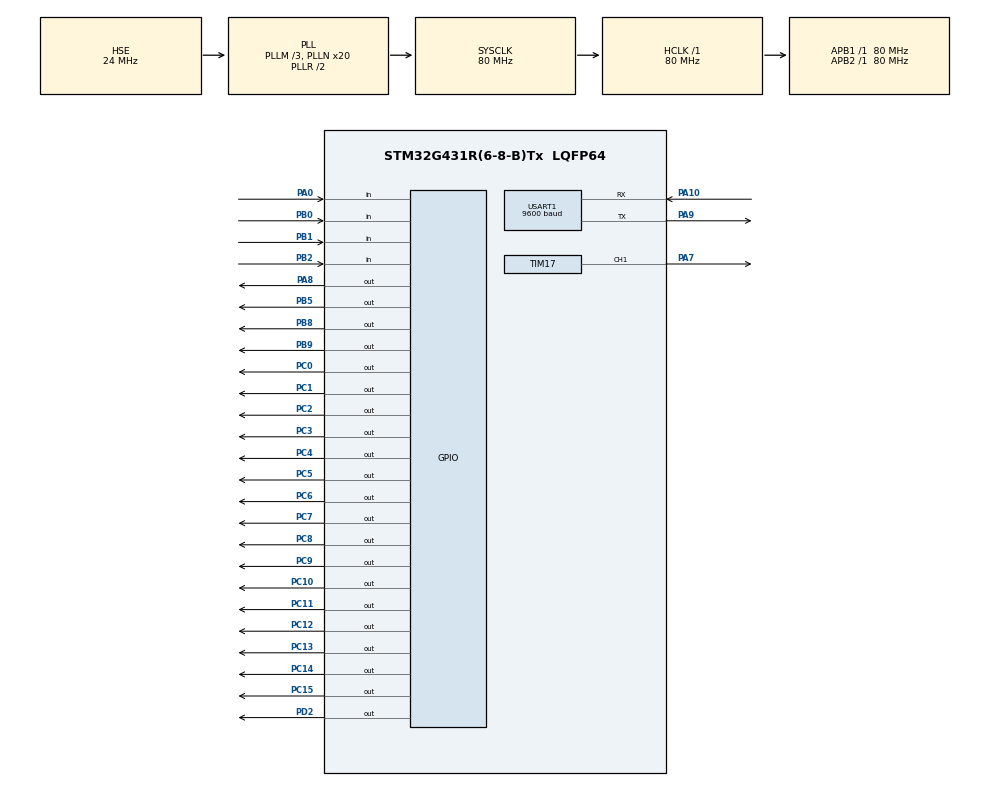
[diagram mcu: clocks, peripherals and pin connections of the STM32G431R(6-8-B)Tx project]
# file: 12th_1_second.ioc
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Mcu.Family=STM32G4
Mcu.Name=STM32G431R(6-8-B)Tx
Mcu.Package=LQFP64
NVIC.PriorityGroup=NVIC_PRIORITYGROUP_4
NVIC.TIM4_IRQn=true\:0\:0\:false\:false\:true\:true\:true\:true
NVIC.USART1_IRQn=true\:0\:0\:false\:false\:true\:true\:true\:true
PA0.GPIO_PuPd=GPIO_PULLUP
PA0.Signal=GPIO_Input
PA10.Mode=Asynchronous
PA10.Signal=USART1_RX
PA13.Mode=Serial_Wire
PA13.Signal=SYS_JTMS-SWDIO
PA14.Mode=Serial_Wire
PA14.Signal=SYS_JTCK-SWCLK
PA7.Signal=S_TIM17_CH1
PA8.Signal=GPIO_Output
PA9.Mode=Asynchronous
PA9.Signal=USART1_TX
PB0.GPIO_PuPd=GPIO_PULLUP
PB0.Signal=GPIO_Input
PB1.GPIO_PuPd=GPIO_PULLUP
PB1.Signal=GPIO_Input
PB2.GPIO_PuPd=GPIO_PULLUP
PB2.Signal=GPIO_Input
PB5.Signal=GPIO_Output
PB8-BOOT0.Signal=GPIO_Output
PB9.Signal=GPIO_Output
PC0.Signal=GPIO_Output
PC1.Signal=GPIO_Output
PC10.PinState=GPIO_PIN_SET
PC10.Signal=GPIO_Output
PC11.PinState=GPIO_PIN_SET
PC11.Signal=GPIO_Output
PC12.PinState=GPIO_PIN_SET
PC12.Signal=GPIO_Output
PC13.PinState=GPIO_PIN_SET
PC13.Signal=GPIO_Output
PC14-OSC32_IN.PinState=GPIO_PIN_SET
PC14-OSC32_IN.Signal=GPIO_Output
PC15-OSC32_OUT.PinState=GPIO_PIN_SET
PC15-OSC32_OUT.Signal=GPIO_Output
PC2.Signal=GPIO_Output
PC3.Signal=GPIO_Output
PC4.Signal=GPIO_Output
PC5.Signal=GPIO_Output
PC6.Signal=GPIO_Output
PC7.Signal=GPIO_Output
PC8.PinState=GPIO_PIN_SET
PC8.Signal=GPIO_Output
PC9.PinState=GPIO_PIN_SET
PC9.Signal=GPIO_Output
PD2.Signal=GPIO_Output
PF0-OSC_IN.Mode=HSE-External-Oscillator
PF0-OSC_IN.Signal=RCC_OSC_IN
PF1-OSC_OUT.Mode=HSE-External-Oscillator
PF1-OSC_OUT.Signal=RCC_OSC_OUT
ProjectManager.HeapSize=0x200
ProjectManager.StackSize=0x400
ProjectManager.TargetToolchain=MDK-ARM V5.32
RCC.ADC12Freq_Value=80000000
RCC.AHBFreq_Value=80000000
RCC.APB1Freq_Value=80000000
RCC.APB1TimFreq_Value=80000000
RCC.APB2Freq_Value=80000000
RCC.APB2TimFreq_Value=80000000
RCC.CortexFreq_Value=80000000
RCC.EXTERNAL_CLOCK_VALUE=12288000
RCC.HCLKFreq_Value=80000000
RCC.HSE_VALUE=24000000
RCC.HSI48_VALUE=48000000
RCC.HSI_VALUE=16000000
RCC.LSE_VALUE=32768
RCC.PLLM=RCC_PLLM_DIV3
RCC.PLLN=20
RCC.PLLSourceVirtual=RCC_PLLSOURCE_HSE
RCC.SYSCLKFreq_VALUE=80000000
RCC.SYSCLKSource=RCC_SYSCLKSOURCE_PLLCLK
RCC.USBFreq_Value=80000000
RCC.VCOOutputFreq_Value=160000000
SH.S_TIM17_CH1.0=TIM17_CH1,PWM Generation1 CH1
TIM17.Channel=TIM_CHANNEL_1
TIM17.PeriodNoDither=100-1
TIM17.Prescaler=400-1
TIM4.PeriodNoDither=10000-1
TIM4.Prescaler=80-1
USART1.BaudRate=9600
USART1.VirtualMode-Asynchronous=VM_ASYNC
VP_SYS_VS_DBSignals.Mode=DisableDeadBatterySignals
VP_TIM17_VS_ClockSourceINT.Mode=Enable_Timer
VP_TIM4_VS_ClockSourceINT.Mode=Internal
board=custom

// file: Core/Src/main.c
/* USER CODE BEGIN Header */
/**
  ******************************************************************************
  * @file           : main.c
  * @brief          : Main program body
  ******************************************************************************
  * @attention
  *
  * Copyright (c) 2024 STMicroelectronics.
  * All rights reserved.
  *
  * This software is licensed under terms that can be found in the LICENSE file
  * in the root directory of this software component.
  * If no LICENSE file comes with this software, it is provided AS-IS.
  *
  ******************************************************************************
  */
/* USER CODE END Header */
#include "main.h"
#include "tim.h"
#include "usart.h"
#include "gpio.h"

/* USER CODE BEGIN Includes */

#include "stdio.h"
#include "string.h"

#include "led.h"
#include "lcd.h"
#include "myusart.h"
#include "timer.h"

/* USER CODE END Includes */

/* USER CODE BEGIN PTD */

unsigned char ucled=0x00;
unsigned char lcd_text[30];
unsigned char usart_text[30];

__IO uint32_t uwTick_Lcd;
__IO uint32_t uwTick_Led;

unsigned char view=0;

unsigned int CNBR_Data;
unsigned int VNBR_Data;
unsigned int IDLE_Data=8;

double CNBR_Para=3.50;
double VNBR_Para=2.00;

unsigned char PA7_Flag=0;

/* USER CODE END PTD */

/* USER CODE BEGIN PD */

struct Car
{
    char name[5];
    char type[5];
};

struct TIME
{
    int year;
    int month;
    int day;
    int hour;
    int min;
    int sec;
};

struct Parking
{
    struct Car car;
    struct TIME time;
    unsigned char park_flag;
};

struct Parking parking[9];
int outindex;

/* USER CODE END PD */

void SystemClock_Config(void);
/* USER CODE BEGIN PFP */

void lcd_proc(void);
void led_proc(void);
void PA7_Proc(void);
void key_proc(void);
void usart_proc(void);

void Parking_init(struct Parking *park);
int IsParking(struct Parking *park,struct Car car,struct TIME time);
void OutParking(struct Parking *park,struct Car car,struct TIME time);
void InParking(struct Parking *park,struct Car car,struct TIME time);

/* USER CODE END PFP */

int main(void)
{

  /* MCU Configuration--------------------------------------------------------*/

  /* Reset of all peripherals, Initializes the Flash interface and the Systick. */
  HAL_Init();

  /* Configure the system clock */
  SystemClock_Config();

  /* Initialize all configured peripherals */
  MX_GPIO_Init();
  MX_TIM4_Init();
  MX_TIM17_Init();
  MX_USART1_UART_Init();
  /* USER CODE BEGIN 2 */

    led_disp(ucled);

    LCD_Init();
    LCD_Clear(Black);
    LCD_SetBackColor(Black);
    LCD_SetTextColor(White);

    HAL_TIM_Base_Start_IT(&htim4);

    HAL_TIM_PWM_Start(&htim17,TIM_CHANNEL_1);

    HAL_UART_Receive_IT(&huart1,&rxdat,1);

    Parking_init(parking);

  /* USER CODE END 2 */

  /* Infinite loop */
  while (1)
  {

    /* USER CODE BEGIN 3 */
      key_proc();
      lcd_proc();
      PA7_Proc();
      led_proc();
      if(rx_pointer!=0)
      {
          int temp=rx_pointer;
          HAL_Delay(2);
          if(temp==rx_pointer)
              usart_proc();
      }
  }
  /* USER CODE END 3 */
}

void SystemClock_Config(void)
{
  RCC_OscInitTypeDef RCC_OscInitStruct = {0};
  RCC_ClkInitTypeDef RCC_ClkInitStruct = {0};

  /** Configure the main internal regulator output voltage
  */
  HAL_PWREx_ControlVoltageScaling(PWR_REGULATOR_VOLTAGE_SCALE1);

  /** Initializes the RCC Oscillators according to the specified parameters
  * in the RCC_OscInitTypeDef structure.
  */
  RCC_OscInitStruct.OscillatorType = RCC_OSCILLATORTYPE_HSE;
  RCC_OscInitStruct.HSEState = RCC_HSE_ON;
  RCC_OscInitStruct.PLL.PLLState = RCC_PLL_ON;
  RCC_OscInitStruct.PLL.PLLSource = RCC_PLLSOURCE_HSE;
  RCC_OscInitStruct.PLL.PLLM = RCC_PLLM_DIV3;
  RCC_OscInitStruct.PLL.PLLN = 20;
  RCC_OscInitStruct.PLL.PLLP = RCC_PLLP_DIV2;
  RCC_OscInitStruct.PLL.PLLQ = RCC_PLLQ_DIV2;
  RCC_OscInitStruct.PLL.PLLR = RCC_PLLR_DIV2;
  if (HAL_RCC_OscConfig(&RCC_OscInitStruct) != HAL_OK)
  {
    Error_Handler();
  }

  /** Initializes the CPU, AHB and APB buses clocks
  */
  RCC_ClkInitStruct.ClockType = RCC_CLOCKTYPE_HCLK|RCC_CLOCKTYPE_SYSCLK
                              |RCC_CLOCKTYPE_PCLK1|RCC_CLOCKTYPE_PCLK2;
  RCC_ClkInitStruct.SYSCLKSource = RCC_SYSCLKSOURCE_PLLCLK;
  RCC_ClkInitStruct.AHBCLKDivider = RCC_SYSCLK_DIV1;
  RCC_ClkInitStruct.APB1CLKDivider = RCC_HCLK_DIV1;
  RCC_ClkInitStruct.APB2CLKDivider = RCC_HCLK_DIV1;

  if (HAL_RCC_ClockConfig(&RCC_ClkInitStruct, FLASH_LATENCY_2) != HAL_OK)
  {
    Error_Handler();
  }
}

/* USER CODE BEGIN 4 */

void lcd_proc(void)
{
    if((uwTick-uwTick_Lcd)<100)return;
    uwTick_Lcd=uwTick;

    switch(view)
    {
        case 0://车位显示界面
            memset(lcd_text,0,sizeof(lcd_text));
            sprintf((char *)lcd_text,"       Data          ");
            LCD_DisplayStringLine(Line1,lcd_text);

            memset(lcd_text,0,sizeof(lcd_text));
            sprintf((char *)lcd_text,"   CNBR:%d           ",CNBR_Data);
            LCD_DisplayStringLine(Line3,lcd_text);

            memset(lcd_text,0,sizeof(lcd_text));
            sprintf((char *)lcd_text,"   VNBR:%d           ",VNBR_Data);
            LCD_DisplayStringLine(Line5,lcd_text);

            memset(lcd_text,0,sizeof(lcd_text));
            sprintf((char *)lcd_text,"   IDLE:%d           ",IDLE_Data);
            LCD_DisplayStringLine(Line7,lcd_text);

            break;
        case 1://费率设置界面
            memset(lcd_text,0,sizeof(lcd_text));
            sprintf((char *)lcd_text,"       Para          ");
            LCD_DisplayStringLine(Line1,lcd_text);

            memset(lcd_text,0,sizeof(lcd_text));
            sprintf((char *)lcd_text,"   CNBR:%0.2f           ",CNBR_Para);
            LCD_DisplayStringLine(Line3,lcd_text);

            memset(lcd_text,0,sizeof(lcd_text));
            sprintf((char *)lcd_text,"   VNBR:%0.2f           ",VNBR_Para);
            LCD_DisplayStringLine(Line5,lcd_text);
            break;
    }

}

void key_proc(void)
{
    if(1==key[0].single_flag)//界面切换
    {
        key[0].single_flag=0;
        view=!view;
        LCD_Clear(Black);
    }
    else if(1==key[1].single_flag)//CNBR、VNBR费率增加0.5元
    {
        key[1].single_flag=0;
        if(1==view)
        {
            CNBR_Para+=0.5;
            VNBR_Para+=0.5;
        }
    }
    else if(1==key[2].single_flag)//CNBR、VNBR费率减少0.5元
    {
        key[2].single_flag=0;
        if(1==view)
        {

            CNBR_Para-=0.5;
            VNBR_Para-=0.5;
            if(CNBR_Para<0)CNBR_Para=0;
            if(VNBR_Para<0)VNBR_Para=0;
        }
    }
    else if(1==key[3].single_flag)//切换PA7端口的输出状态
    {
        key[3].single_flag=0;
        PA7_Flag=!PA7_Flag;
    }
}

//初始化
void Parking_init(struct Parking *park)
{
    for(int i=0;i<8;i++)
    {
    park[i].park_flag=1;
    park[i].time.year=0;
    park[i].time.month=0;
    park[i].time.day=0;
    park[i].time.hour=0;
    park[i].time.min=0;
    park[i].time.sec=0;
    strcpy((char *)park[i].car.name,"");
    strcpy((char *)park[i].car.type,"");

    }
}

//判断是停入停车场还是退出停车场
int IsParking(struct Parking *park,struct Car car,struct TIME time)
{
    int i;
    for(i=0;i<8;i++)
    {
        if((0==strcmp(park[i].car.type,car.type))&&(0==strcmp(park[i].car.name,car.name)))
        {
            outindex=i;
            return 1;
        }
    }

    //返回0是进入停车场
    return 0;
}

//退出停车场，并在串口输出计费信息
void OutParking(struct Parking *park,struct Car car,struct TIME time)
{
    double value;
    int hours;

    hours=(time.year-park[outindex].time.year)*356*24+(time.month-park[outindex].time.month)*30*24+(time.day-park[outindex].time.day)*24+(time.hour-park[outindex].time.hour);
    if((time.min!=park[outindex].time.min)||(park[outindex].time.sec!=time.sec))
    {
        hours=hours+1;
    }
    if(0==strcmp(car.type,"CNBR"))
    {
        value=1.0*hours*CNBR_Para;
        CNBR_Data--;
    }
    else if(0==strcmp(car.type,"VNBR"))
    {
        value=1.0*hours*VNBR_Para;
        VNBR_Data--;
    }

    park[outindex].park_flag=1;
    park[outindex].time.year=0;
    park[outindex].time.month=0;
    park[outindex].time.day=0;
    park[outindex].time.hour=0;
    park[outindex].time.min=0;
    park[outindex].time.sec=0;
    strcpy((char *)park[outindex].car.name,"");
    strcpy((char *)park[outindex].car.type,"");

    IDLE_Data++;

    memset(usart_text,0,sizeof(usart_text));
    sprintf((char *)usart_text,"%s:%s:%d:%0.2f",car.type,car.name,hours,value);
    HAL_UART_Transmit(&huart1,usart_text,30,50);
}

//进入停车场
void InParking(struct Parking *park,struct Car car,struct TIME time)
{
    //停车场满了
    if(IDLE_Data<=0)return;

    for(int i=0;i<8;i++)
    {
        //可以停
        if(1==park[i].park_flag)
        {
            if(0==strcmp(car.type,"CNBR"))
            {
                CNBR_Data++;
            }
            else if(0==strcmp(car.type,"VNBR"))
            {
                VNBR_Data++;
            }

            IDLE_Data--;

            park[i].park_flag=0;
            park[i].time.year=time.year;
            park[i].time.month=time.month;
            park[i].time.day=time.day;
            park[i].time.hour=time.hour;
            park[i].time.min=time.min;
            park[i].time.sec=time.sec;
            strcpy(park[i].car.type,car.type);
            strcpy(park[i].car.name,car.name);
            break;
        }
    }

}

void usart_proc(void)
{
   if(rx_pointer!=0)
   {
       if(22==rx_pointer)
       {
           char cartim[13];
          struct Car ca;
          struct TIME tim;
          sscanf((char *)rxdata,"%4s:%4s:%12s",ca.type,ca.name,cartim);
          if((0==strcmp(ca.type,"CNBR"))||(0==strcmp(ca.type,"VNBR")))
          {
              tim.year=(cartim[0]-'0')*10+(cartim[1]-'0')+2000;
              tim.month=(cartim[2]-'0')*10+(cartim[4]-'0');
              tim.day=(cartim[4]-'0')*10+(cartim[5]-'0');
              tim.hour=(cartim[6]-'0')*10+(cartim[7]-'0');
              tim.min=(cartim[8]-'0')*10+(cartim[9]-'0');
              tim.sec=(cartim[10]-'0')*10+(cartim[11]-'0');

               //退出停车场
              if(1==IsParking(parking,ca,tim))
              {
                  OutParking(parking,ca,tim);
              }
              //进入停车场
              else if(0==IsParking(parking,ca,tim))
              {
                  InParking(parking,ca,tim);
              }
          }
          else
          {
           memset(usart_text,0,sizeof(usart_text));
           sprintf((char *)usart_text,"Error");
           HAL_UART_Transmit(&huart1,usart_text,5,50);
          }

       }
       else
       {
           memset(usart_text,0,sizeof(usart_text));
           sprintf((char *)usart_text,"Error");
           HAL_UART_Transmit(&huart1,usart_text,5,50);
       }

       rx_pointer=0;
       memset(rxdata,0,sizeof(rxdata));
   }
}

void PA7_Proc(void)
{
    //2KHZ,低电平
    if(0==PA7_Flag)
    {
        __HAL_TIM_SetCompare(&htim17,TIM_CHANNEL_1,0);
    }
    //2KHZ,20%占空比
    else
    {
        __HAL_TIM_SetCompare(&htim17,TIM_CHANNEL_1,20);
    }
}

void led_proc(void)
{
    if((uwTick-uwTick_Led)<50)return;
    uwTick_Led=uwTick;

    //存在空闲车位，LD1亮
    if(IDLE_Data>0)
    {
        ucled|=0x01;
    }
    else
    {
        ucled&=0xfe;
    }
    //PA7输出2KHZ,20%占空比脉冲信号期间，LD2点亮
    if(1==PA7_Flag)
    {
        ucled|=0x02;
    }
    else
    {
        ucled&=0xfd;
    }

    led_disp(ucled);

}

/* USER CODE END 4 */

void Error_Handler(void)
{
  __disable_irq();
  while (1)
  {
  }
}
